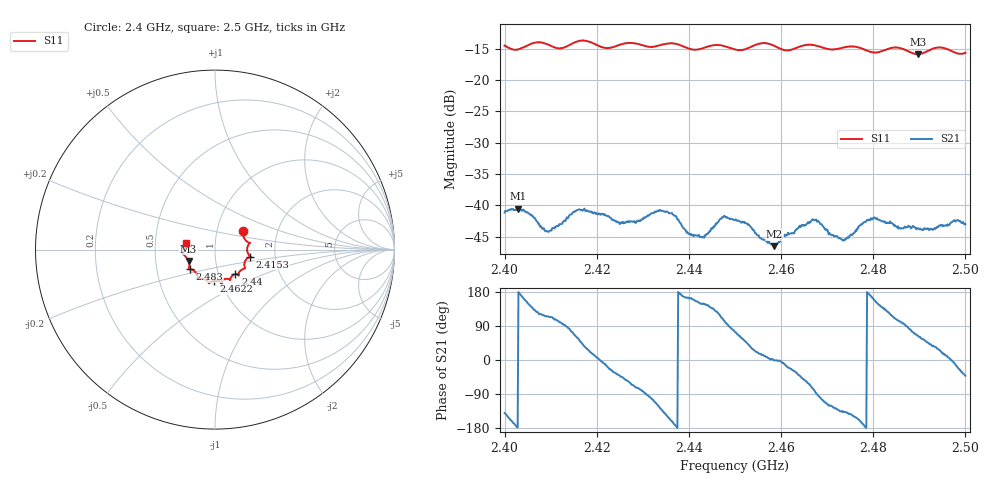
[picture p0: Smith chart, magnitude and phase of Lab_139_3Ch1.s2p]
# Hz S RI R 50
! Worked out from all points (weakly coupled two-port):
!   601 points, 2.4 GHz to 2.5 GHz, reference 50 ohm
!   highest |S21| = -40.52 dB at 2.403 GHz (marker M1); lowest = -46.5 dB at 2.4585 GHz (marker M2)
!   lowest |S11| = -15.9 dB at 2.4897 GHz (marker M3), VSWR 1.38, Z = 36.9 - j4.81 ohm
!   |S11| at or under -10 dB: start of sweep to end of sweep
!   S12 and S22 are empty: the file has one direction only
!   S11 on the Smith chart (normalised r, x): 2.4 GHz: 1.33, +0.29; 2.4153 GHz: 1.48, -0.12; 2.44 GHz: 1.20, -0.34; 2.4622 GHz: 0.93, -0.33; 2.483 GHz: 0.74, -0.17; 2.5 GHz: 0.72, +0.06
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2.4e9  0.1551 0.1061  -0.00669 -0.00563  0 0  0 0
2.403e9  0.1648 0.0597  -0.00942 9.45e-05  0 0  0 0
2.409333e9  0.1897 0.032  -0.00264 0.00561  0 0  0 0
2.415333e9  0.1964 -0.0387  0.00391 0.0081  0 0  0 0
2.416667e9  0.2018 -0.0426  0.00645 0.00658  0 0  0 0
2.4255e9  0.1662 -0.0986  0.00511 -0.00509  0 0  0 0
2.433333e9  0.1311 -0.1342  -0.00459 -0.00784  0 0  0 0
2.436667e9  0.132 -0.1443  -0.00819 -0.00175  0 0  0 0
2.44e9  0.1136 -0.1366  -0.00565 0.0017  0 0  0 0
2.442833e9  0.0899 -0.1535  -0.00468 0.00297  0 0  0 0
2.447333e9  0.0832 -0.1682  -0.00263 0.00754  0 0  0 0
2.45e9  0.0647 -0.1627  0.00214 0.00734  0 0  0 0
2.4585e9  0.0345 -0.1841  0.00472 -9.14e-05  0 0  0 0
2.462167e9  -0.0072 -0.174  0.00546 -0.00236  0 0  0 0
2.466667e9  -0.0341 -0.1877  0.00232 -0.00725  0 0  0 0
2.4735e9  -0.0842 -0.1605  -0.00377 -0.0037  0 0  0 0
2.479e9  -0.1035 -0.1339  -0.00767 0.00069  0 0  0 0
2.483e9  -0.1376 -0.1093  -0.00454 0.00558  0 0  0 0
2.483333e9  -0.14 -0.1091  -0.00423 0.00588  0 0  0 0
2.489667e9  -0.1474 -0.0635  0.00285 0.00588  0 0  0 0
2.494167e9  -0.1804 -0.0226  0.00604 0.0032  0 0  0 0
2.5e9  -0.16 0.0391  0.00529 -0.00472  0 0  0 0
